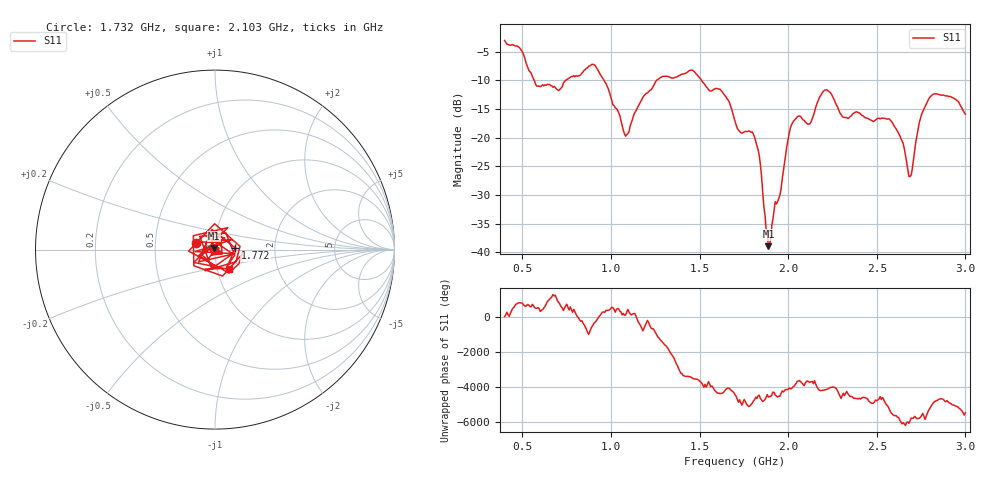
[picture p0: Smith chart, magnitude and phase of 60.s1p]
!Created with skrf (http://scikit-rf.org).
# Hz S RI R 50.0
!freq ReS11 ImS11
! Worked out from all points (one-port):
!   401 points, 400 MHz to 3 GHz, reference 50 ohm
!   lowest |S11| = -38.9 dB at 1.889 GHz (marker M1), VSWR 1.02, Z = 49.3 + j0.893 ohm
!   |S11| at or under -10 dB: 567 MHz to 743.9 MHz (176.8 MHz wide, 27 % of centre); 961.2 MHz to 1.257 GHz (295.9 MHz wide, 26.7 % of centre); 1.511 GHz to end of sweep
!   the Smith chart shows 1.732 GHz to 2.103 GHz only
!   S11 on the Smith chart (normalised r, x): 1.732 GHz: 0.81, +0.06; 1.772 GHz: 1.26, +0.02; 2.103 GHz: 1.14, -0.26
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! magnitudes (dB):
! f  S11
! 400 MHz  -3.0
! 491 MHz  -4.6
! 588.5 MHz  -11.0
! 725 MHz  -11.1
! 900.5 MHz  -7.2
! 1.05 GHz  -16.1
! 1.089 GHz  -19.5
! 1.264 GHz  -9.8
! 1.375 GHz  -9.4
! 1.46 GHz  -8.2
! 1.615 GHz  -11.6
! 1.7 GHz  -17.1
! 1.732 GHz  -19.1
! 1.772 GHz  -18.9
! 1.83 GHz  -22.1
! 1.889 GHz  -38.9
! 2.025 GHz  -17.4
! 2.103 GHz  -17.4
! 2.213 GHz  -11.6
! 2.35 GHz  -16.3
! 2.578 GHz  -17.0
! 2.643 GHz  -20.6
! 2.675 GHz  -25.6
! 2.695 GHz  -26.5
! 2.747 GHz  -16.6
! 2.805 GHz  -12.8
! 2.929 GHz  -13.0
! 3 GHz  -15.9
